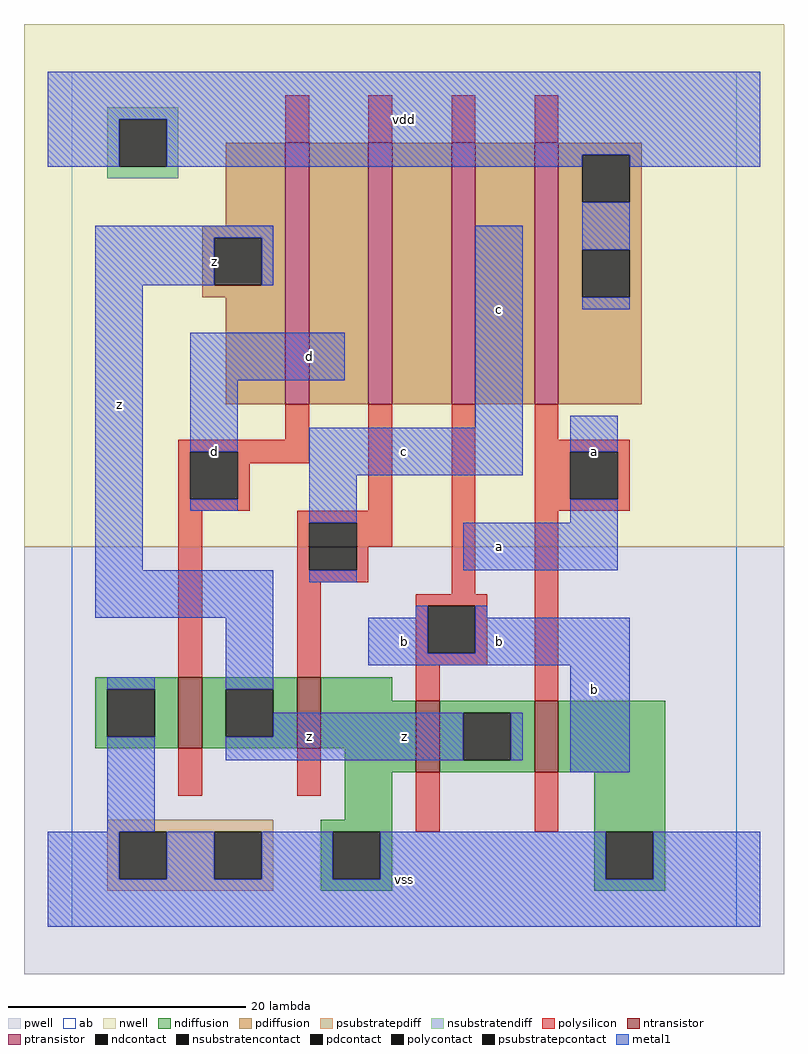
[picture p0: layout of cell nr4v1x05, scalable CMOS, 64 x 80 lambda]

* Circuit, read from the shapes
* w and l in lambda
.subckt nr4v1x05 a b c d vdd vss z
M1 z d vss vss nfet w=6 l=2
M2 vss c z vss nfet w=6 l=2
M3 z b vss vss nfet w=6 l=2
M4 vss a z vss nfet w=6 l=2
M5 n1 d z vdd pfet w=22 l=2
M6 n2 c n1 vdd pfet w=22 l=2
M7 n3 b n2 vdd pfet w=22 l=2
M8 vdd a n3 vdd pfet w=22 l=2
.ends

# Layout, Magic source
magic
tech scmos
<< ab >>
rect 0 0 56 72
<< pwell >>
rect -4 -4 60 32
<< nwell >>
rect -4 32 60 76
<< polysilicon >>
rect 18 66 20 70
rect 25 66 27 70
rect 32 66 34 70
rect 39 66 41 70
rect 18 41 20 44
rect 9 40 20 41
rect 9 36 10 40
rect 14 39 20 40
rect 14 36 15 39
rect 9 35 15 36
rect 25 35 27 44
rect 9 21 11 35
rect 19 34 27 35
rect 19 30 20 34
rect 24 32 27 34
rect 24 30 25 32
rect 19 29 25 30
rect 19 21 21 29
rect 32 28 34 44
rect 39 41 41 44
rect 39 40 47 41
rect 39 36 42 40
rect 46 36 47 40
rect 39 35 47 36
rect 29 27 35 28
rect 29 23 30 27
rect 34 23 35 27
rect 29 22 35 23
rect 29 19 31 22
rect 39 19 41 35
rect 9 11 11 15
rect 19 11 21 15
rect 29 8 31 13
rect 39 8 41 13
<< ndiffusion >>
rect 2 20 9 21
rect 2 16 3 20
rect 7 16 9 20
rect 2 15 9 16
rect 11 20 19 21
rect 11 16 13 20
rect 17 16 19 20
rect 11 15 19 16
rect 21 19 27 21
rect 21 15 29 19
rect 23 13 29 15
rect 31 18 39 19
rect 31 14 33 18
rect 37 14 39 18
rect 31 13 39 14
rect 41 13 50 19
rect 23 9 27 13
rect 21 8 27 9
rect 44 8 50 13
rect 21 4 22 8
rect 26 4 27 8
rect 21 3 27 4
rect 44 4 45 8
rect 49 4 50 8
rect 44 3 50 4
<< pdiffusion >>
rect 13 59 18 66
rect 11 58 18 59
rect 11 54 12 58
rect 16 54 18 58
rect 11 53 18 54
rect 13 44 18 53
rect 20 44 25 66
rect 27 44 32 66
rect 34 44 39 66
rect 41 65 48 66
rect 41 61 43 65
rect 47 61 48 65
rect 41 57 48 61
rect 41 53 43 57
rect 47 53 48 57
rect 41 44 48 53
<< metal1 >>
rect -2 68 58 72
rect -2 64 4 68
rect 8 65 58 68
rect 8 64 43 65
rect 47 64 58 65
rect 2 58 17 59
rect 2 54 12 58
rect 16 54 17 58
rect 2 30 6 54
rect 10 46 23 50
rect 10 40 14 46
rect 34 42 38 59
rect 43 57 47 61
rect 43 52 47 53
rect 10 35 14 36
rect 20 38 38 42
rect 42 40 46 43
rect 20 34 24 38
rect 42 34 46 36
rect 33 30 46 34
rect 2 26 17 30
rect 20 29 24 30
rect 29 26 30 27
rect 3 20 7 21
rect 3 8 7 16
rect 13 20 17 26
rect 25 23 30 26
rect 34 26 35 27
rect 34 23 47 26
rect 25 22 47 23
rect 17 16 33 18
rect 13 14 33 16
rect 37 14 38 18
rect 42 13 47 22
rect -2 4 4 8
rect 8 4 12 8
rect 16 4 22 8
rect 26 4 45 8
rect 49 4 58 8
rect -2 0 58 4
<< ntransistor >>
rect 9 15 11 21
rect 19 15 21 21
rect 29 13 31 19
rect 39 13 41 19
<< ptransistor >>
rect 18 44 20 66
rect 25 44 27 66
rect 32 44 34 66
rect 39 44 41 66
<< polycontact >>
rect 10 36 14 40
rect 20 30 24 34
rect 42 36 46 40
rect 30 23 34 27
<< ndcontact >>
rect 3 16 7 20
rect 13 16 17 20
rect 33 14 37 18
rect 22 4 26 8
rect 45 4 49 8
<< pdcontact >>
rect 12 54 16 58
rect 43 61 47 65
rect 43 53 47 57
<< psubstratepcontact >>
rect 4 4 8 8
rect 12 4 16 8
<< nsubstratencontact >>
rect 4 64 8 68
<< psubstratepdiff >>
rect 3 8 17 9
rect 3 4 4 8
rect 8 4 12 8
rect 16 4 17 8
rect 3 3 17 4
<< nsubstratendiff >>
rect 3 68 9 69
rect 3 64 4 68
rect 8 64 9 68
rect 3 63 9 64
<< labels >>
rlabel metal1 4 44 4 44 6 z
rlabel metal1 20 16 20 16 6 z
rlabel metal1 12 40 12 40 6 d
rlabel metal1 20 48 20 48 6 d
rlabel metal1 12 56 12 56 6 z
rlabel metal1 28 4 28 4 6 vss
rlabel metal1 28 16 28 16 6 z
rlabel metal1 28 24 28 24 6 b
rlabel metal1 36 32 36 32 6 a
rlabel metal1 36 24 36 24 6 b
rlabel metal1 28 40 28 40 6 c
rlabel metal1 36 52 36 52 6 c
rlabel metal1 28 68 28 68 6 vdd
rlabel metal1 44 20 44 20 6 b
rlabel metal1 44 40 44 40 6 a
<< end >>
